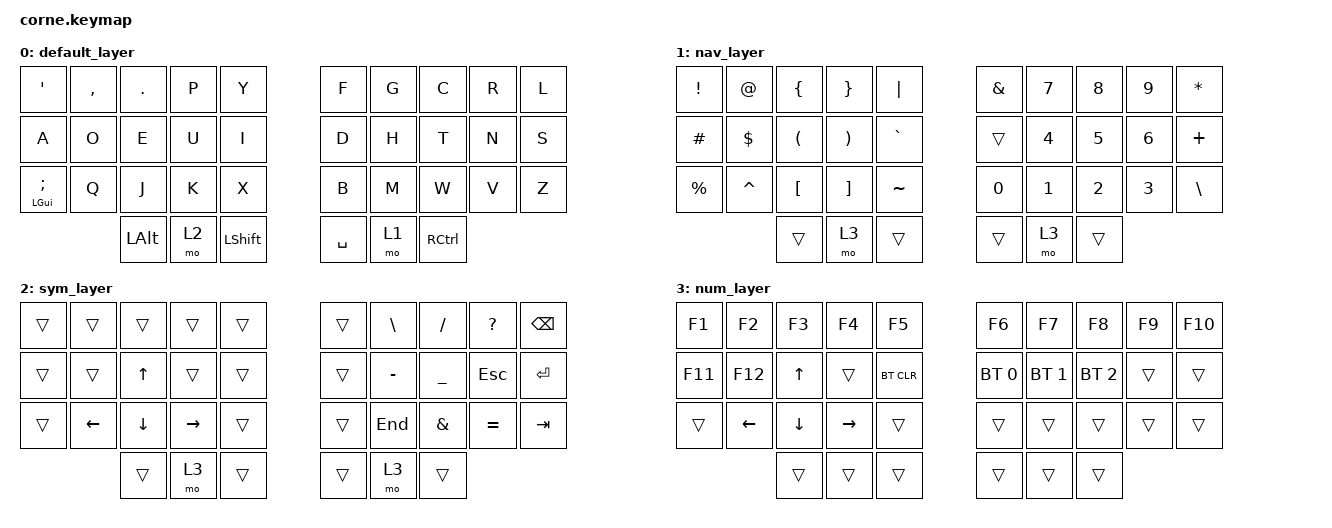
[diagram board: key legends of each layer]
/*
 * Copyright (c) 2020 The ZMK Contributors
 *
 * SPDX-License-Identifier: MIT
 */

#include <behaviors.dtsi>
#include <dt-bindings/zmk/keys.h>
#include <dt-bindings/zmk/bt.h>

/ {
  chosen {
    zmk,matrix_transform = &five_column_transform;
  };
};

/ {
        keymap {
                compatible = "zmk,keymap";

                default_layer {
                        bindings = <
   &kp SQT       &kp COMMA &kp DOT  &kp P &kp Y         &kp F     &kp G &kp C     &kp R &kp L
   &kp A         &kp O     &kp E    &kp U &kp I         &kp D     &kp H &kp T     &kp N &kp S
   &mt LGUI SEMI &kp Q     &kp J    &kp K &kp X         &kp B     &kp M &kp W     &kp V &kp Z
                           &kp LALT &mo 2 &kp LSHFT     &kp SPACE &mo 1 &kp RCTRL
                        >;
                };
                nav_layer {
                        bindings = <
   &kp EXCL  &kp AT    &kp LBRC &kp RBRC &kp PIPE      &kp AMPS &kp N7 &kp N8 &kp N9 &kp STAR
   &kp HASH  &kp DLLR  &kp LPAR &kp RPAR &kp GRAVE     &trans   &kp N4 &kp N5 &kp N6 &kp PLUS
   &kp PRCNT &kp CARET &kp LBKT &kp RBKT &kp TILDE     &kp N0   &kp N1 &kp N2 &kp N3 &kp BSLH
                       &trans   &mo 3    &trans        &trans   &mo 3  &trans
                        >;
                };

                sym_layer {
                        bindings = <
   &trans &trans   &trans   &trans    &trans      &trans &kp BSLH  &kp FSLH  &kp QMARK &kp BSPC
   &trans &trans   &kp UP   &trans    &trans      &trans &kp MINUS &kp UNDER &kp ESC   &kp RET
   &trans &kp LEFT &kp DOWN &kp RIGHT &trans      &trans &kp END   &kp AMPS  &kp EQUAL &kp TAB
                   &trans   &mo 3     &trans      &trans &mo 3     &trans
                        >;
                };

                num_layer {
                        bindings = <
   &kp F1  &kp F2   &kp F3   &kp F4    &kp F5    &kp F6 &kp F7 &kp F8 &kp F9 &kp F10
   &kp F11 &kp F12  &kp UP   &trans    &bt BT_CLR    &bt BT_SEL 0 &bt BT_SEL 1 &bt BT_SEL 2 &trans &trans
   &trans  &kp LEFT &kp DOWN &kp RIGHT &trans    &trans &trans &trans &trans &trans
                 &trans &trans &trans            &trans &trans &trans
                        >;
                };
        };
};
